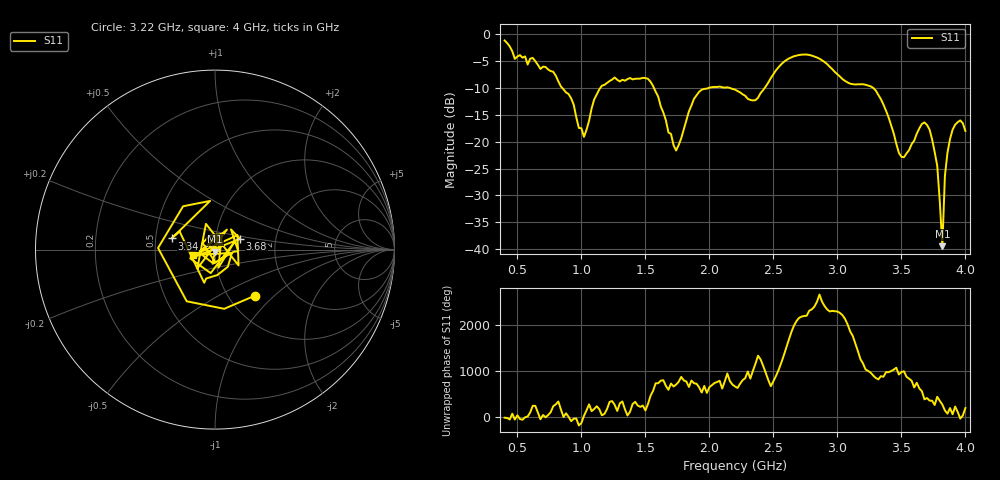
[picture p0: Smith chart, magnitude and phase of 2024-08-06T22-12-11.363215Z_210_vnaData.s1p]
!Created with skrf (http://scikit-rf.org).
# Hz S RI R 50.0
!freq ReS11 ImS11
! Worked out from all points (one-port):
!   181 points, 400 MHz to 4 GHz, reference 50 ohm
!   lowest |S11| = -39.5 dB at 3.82 GHz (marker M1), VSWR 1.02, Z = 50 - j1.06 ohm
!   |S11| at or under -10 dB: 851.1 MHz to 1.147 GHz (296 MHz wide, 29.6 % of centre); 1.567 GHz to 1.991 GHz (424 MHz wide, 23.8 % of centre); 3.281 GHz to end of sweep (the widest 3 of 4)
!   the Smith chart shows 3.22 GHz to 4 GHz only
!   S11 on the Smith chart (normalised r, x): 3.22 GHz: 1.32, -0.77; 3.34 GHz: 0.61, +0.08; 3.68 GHz: 1.31, +0.16; 4 GHz: 0.78, -0.05
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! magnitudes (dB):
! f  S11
! 400 MHz  -1.1
! 480 MHz  -4.6
! 620 MHz  -4.4
! 860 MHz  -10.2
! 1.02 GHz  -19.1
! 1.14 GHz  -10.2
! 1.3 GHz  -8.8
! 1.52 GHz  -8.3
! 1.72 GHz  -20.6
! 1.76 GHz  -20.6
! 1.92 GHz  -10.7
! 2.2 GHz  -10.3
! 2.36 GHz  -12.2
! 2.66 GHz  -4.1
! 2.84 GHz  -4.3
! 3.1 GHz  -9.2
! 3.22 GHz  -9.4
! 3.34 GHz  -12.1
! 3.48 GHz  -22.0
! 3.56 GHz  -21.6
! 3.68 GHz  -16.4
! 3.72 GHz  -17.7
! 3.78 GHz  -24.5
! 3.82 GHz  -39.5
! 3.84 GHz  -26.3
! 3.88 GHz  -19.5
! 3.96 GHz  -16.0
! 4 GHz  -18.0
